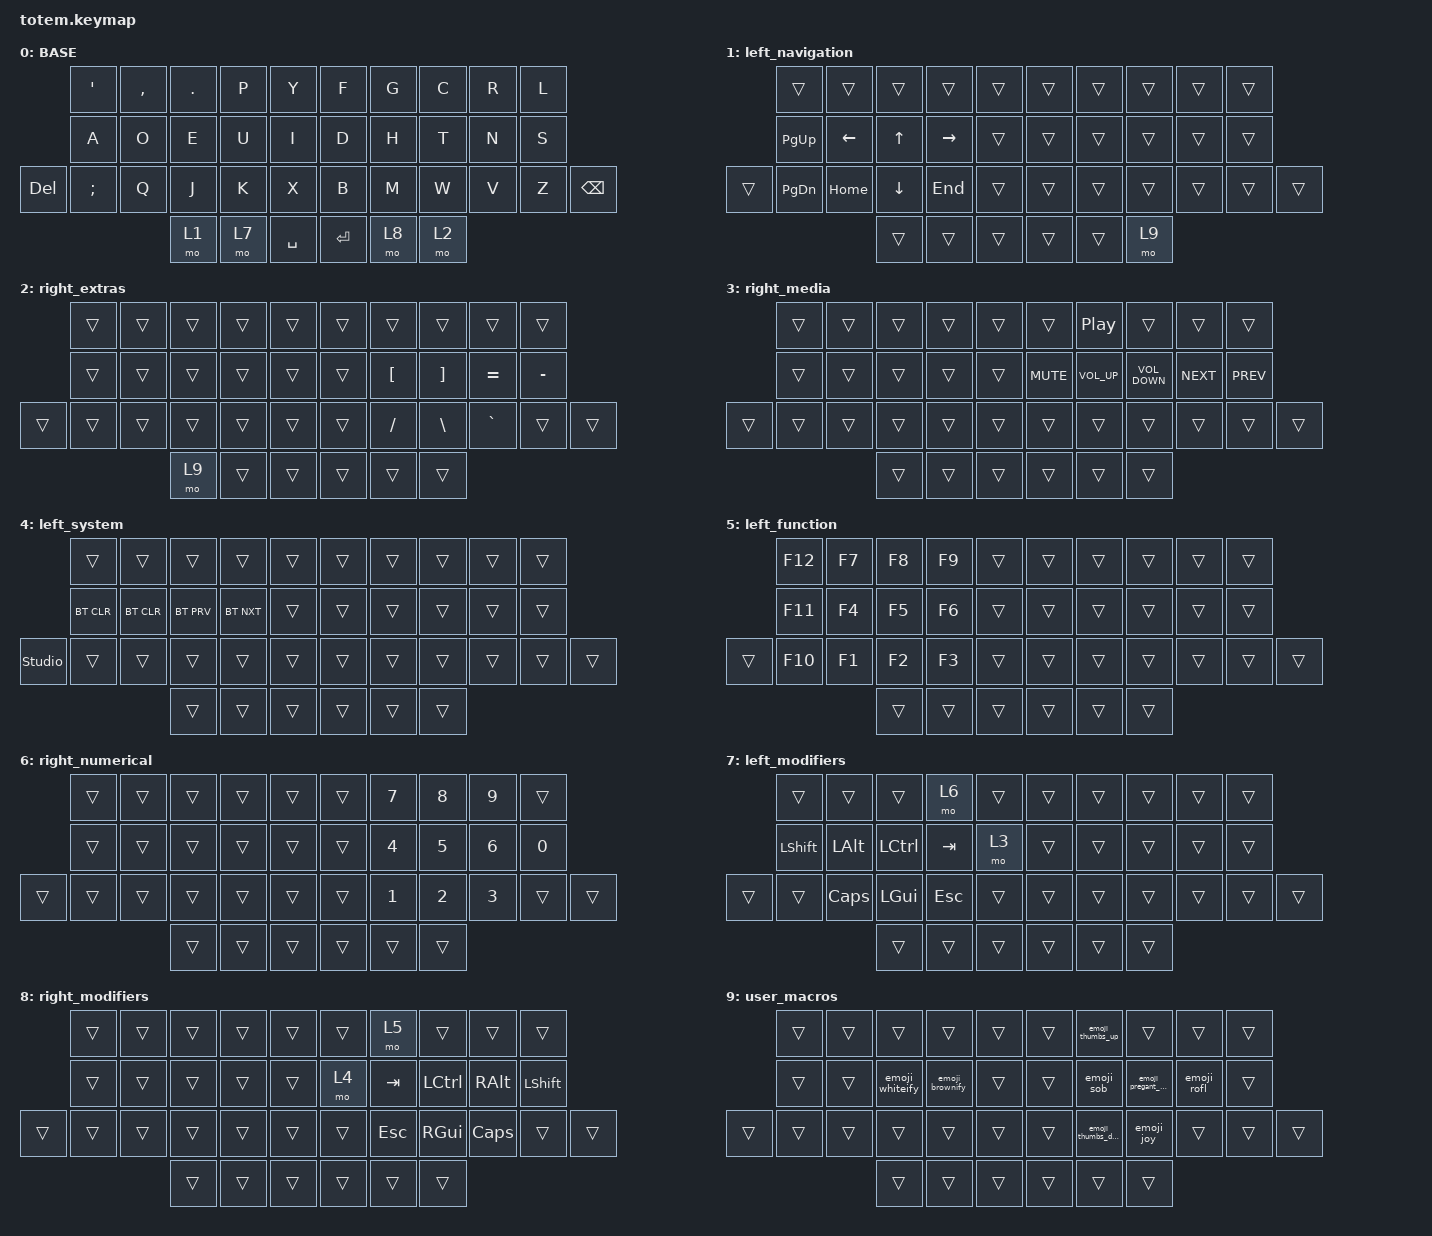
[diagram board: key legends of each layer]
//
//                                                        ▀▀▀▀▀     ▀▀▀▀▀          ▀▀█▀▀
//                                                        ▄▀▀▀▄  ▄  ▄▀▀▀▄  ▄  ▄▀▀▀▄  █  ▄▀▀▀▄
//                                                        █   █  █  █   █  █  █   █  █  █   █
//                                                         ▀▀▀   █   ▀▀▀   █   ▀▀▀   ▀   ▀▀▀
//                                                               █      ▄▄▄█▄▄▄    █   █  
//                                                               ▀      █  █  █     █▄█
//                                                             ▀▀▀▀▀    █  █  █      ▀
//                                                                      ▀  ▀  ▀
//
// ▄▄▄▄▄▄▄▄▄▄▄▄▄▄▄▄▄▄▄▄▄▄▄▄▄▄▄▄▄▄▄▄▄▄▄▄▄▄▄▄▄▄▄▄▄▄▄▄▄▄▄▄▄▄▄▄▄▄▄▄▄▄▄▄▄▄▄▄▄▄▄▄▄▄▄▄▄▄▄▄▄▄▄▄▄▄▄▄▄▄▄▄▄▄▄▄▄▄▄▄▄▄▄▄▄▄▄▄▄▄▄▄▄▄▄▄▄▄▄▄▄▄▄▄▄▄▄▄▄▄▄▄▄▄▄▄▄▄▄▄▄▄▄▄▄▄▄▄▄

#include <behaviors.dtsi>
#include <dt-bindings/zmk/bt.h>
#include <dt-bindings/zmk/keys.h>

#define BASE 0
#define NAV  1
#define SYM  2
#define ADJ  3
#define TVP1 4
#define TVP2 5

&mt {
    quick-tap-ms = <100>;
    global-quick-tap;
    flavor = "tap-preferred";
    tapping-term-ms = <170>;
};

/ {
    combos { compatible = "zmk,combos"; };

    macros {
        emoji_brownify: emoji_brownify {
            compatible = "zmk,behavior-macro";
            #binding-cells = <0>;
            bindings = <&kp LS(LC(U)) &kp N1 &kp F &kp N3 &kp F &kp F &kp RET>;
            label = "EMOJI_BROWNIFY";
        };

        emoji_whiteify: emoji_whiteify {
            compatible = "zmk,behavior-macro";
            #binding-cells = <0>;
            bindings = <&kp LC(LS(U)) &kp N1 &kp F &kp N3 &kp F &kp B &kp RET>;
            label = "EMOJI_WHITEIFY";
        };

        emoji_pregant_man: emoji_pregant_man {
            compatible = "zmk,behavior-macro";
            #binding-cells = <0>;
            bindings = <&kp LC(LS(U)) &kp N1 &kp F &kp A &kp C &kp N3 &kp RET>;
            label = "EMOJI_PREGANT_MAN";
        };

        emoji_joy: emoji_joy {
            compatible = "zmk,behavior-macro";
            #binding-cells = <0>;
            bindings = <&kp LS(LC(U)) &kp N1 &kp F &kp N6 &kp N0 &kp N2 &kp RET>;
            label = "EMOJI_JOY";
        };

        emoji_sob: new_macro {
            compatible = "zmk,behavior-macro";
            #binding-cells = <0>;
            bindings = <&kp LC(LS(U)) &kp N1 &kp F &kp N6 &kp N2 &kp D &kp RET>;
            label = "NEW_MACRO";
        };

        emoji_rofl: emoji_rofl {
            compatible = "zmk,behavior-macro";
            #binding-cells = <0>;
            bindings = <&kp LC(LS(U)) &kp N1 &kp F &kp N9 &kp N2 &kp N3 &kp RET>;
            label = "EMOJI_ROFL";
        };

        emoji_thumbs_down: emoji_thumbs_down {
            compatible = "zmk,behavior-macro";
            #binding-cells = <0>;
            bindings = <&kp LS(LC(U)) &kp N1 &kp F &kp N4 &kp N4 &kp E &kp RET>;
            label = "EMOJI_THUMBS_DOWN";
        };

        emoji_thumbs_up: emoji_thumbs_up {
            compatible = "zmk,behavior-macro";
            #binding-cells = <0>;
            bindings = <&kp LS(LC(U)) &kp N1 &kp F &kp N4 &kp N4 &kp D &kp RET>;
            label = "EMOJI_THUMBS_UP";
        };
    };

    keymap {
        compatible = "zmk,keymap";

        // ▄▄▄▄▄▄▄▄▄▄▄▄▄▄▄▄▄▄▄▄▄▄▄▄▄▄▄▄▄▄▄▄▄▄▄▄▄▄▄▄▄▄▄▄▄▄▄▄▄▄▄▄▄▄▄▄▄▄▄▄▄▄▄▄▄▄▄▄▄▄▄▄▄▄▄▄▄▄▄▄▄▄▄▄▄▄▄▄▄▄▄▄▄▄▄▄▄▄▄▄▄▄▄▄▄▄▄▄▄▄▄▄▄▄▄▄▄▄▄▄▄▄▄▄▄▄▄▄▄▄▄▄▄▄▄▄▄▄▄▄▄▄▄▄▄▄▄▄▄

        base_layer {
            // ┏━━━━━━━━━━━━━━━━━━━━━━━━━━━━━━━━━━━━━━━┓

            label = "BASE";

            // ┗━━━━━━━━━━━━━━━━━━━━━━━━━━━━━━━━━━━━━━━┛
            //             ┏━━━━━━━━━━━┳━━━━━━━━━━━┳━━━━━━━━━━━┳━━━━━━━━━━━┳━━━━━━━━━━━┓   ┏━━━━━━━━━━━┳━━━━━━━━━━━┳━━━━━━━━━━━┳━━━━━━━━━━━┳━━━━━━━━━━━┓
            //             ┃     Q     ┃     W     ┃     F     ┃     P     ┃     G     ┃   ┃     J     ┃     L     ┃     U     ┃     Y     ┃     ;     ┃
            //             ┣━━━━━━━━━━━╋━━━━━━━━━━━╋━━━━━━━━━━━╋━━━━━━━━━━━╋━━━━━━━━━━━┫   ┣━━━━━━━━━━━╋━━━━━━━━━━━╋━━━━━━━━━━━╋━━━━━━━━━━━╋━━━━━━━━━━━┫
            //             ┃     A     ┃     R     ┃     S     ┃     T     ┃     D     ┃   ┃     H     ┃     N     ┃     E     ┃     I     ┃     O     ┃
            // ┏━━━━━━━━━━━╋━━━━━━━━━━━╋━━━━━━━━━━━╋━━━━━━━━━━━╋━━━━━━━━━━━╋━━━━━━━━━━━┫   ┣━━━━━━━━━━━╋━━━━━━━━━━━╋━━━━━━━━━━━╋━━━━━━━━━━━╋━━━━━━━━━━━╋━━━━━━━━━━━┓
            // ┃     Q     ┃     Z     ┃     X     ┃     C     ┃     V     ┃     B     ┃   ┃     K     ┃     M     ┃     ,     ┃     .     ┃     /     ┃     \     ┃
            // ┗━━━━━━━━━━━┻━━━━━━━━━━━┻━━━━━━━━━━━╋━━━━━━━━━━━╋━━━━━━━━━━━╋━━━━━━━━━━━┫   ┣━━━━━━━━━━━╋━━━━━━━━━━━╋━━━━━━━━━━━╋━━━━━━━━━━━┻━━━━━━━━━━━┻━━━━━━━━━━━┛
            //                                     ┃    DEL    ┃    TAB    ┃    SPC    ┃   ┃   ENTER   ┃           ┃   BSPC    ┃
            //                                     ┗━━━━━━━━━━━┻━━━━━━━━━━━┻━━━━━━━━━━━┛   ┗━━━━━━━━━━━┻━━━━━━━━━━━┻━━━━━━━━━━━┛

            bindings = <
         &kp SQT        &kp COMMA  &kp PERIOD  &kp P  &kp Y        &kp F      &kp G  &kp C  &kp R  &kp L
         &kp A          &kp O      &kp E       &kp U  &kp I        &kp D      &kp H  &kp T  &kp N  &kp S
&kp DEL  &kp SEMICOLON  &kp Q      &kp J       &kp K  &kp X        &kp B      &kp M  &kp W  &kp V  &kp Z  &kp BACKSPACE
                                   &mo 1       &mo 7  &kp SPACE    &kp ENTER  &mo 8  &mo 2
            >;
        };

        left_navigation {
            bindings = <
        &trans     &trans    &trans    &trans     &trans    &trans  &trans  &trans  &trans  &trans
        &kp PG_UP  &kp LEFT  &kp UP    &kp RIGHT  &trans    &trans  &trans  &trans  &trans  &trans
&trans  &kp PG_DN  &kp HOME  &kp DOWN  &kp END    &trans    &trans  &trans  &trans  &trans  &trans  &trans
                             &trans    &trans     &trans    &trans  &trans  &mo 9
            >;
        };

        right_extras {
            bindings = <
        &trans  &trans  &trans  &trans  &trans    &trans  &trans    &trans    &trans     &trans
        &trans  &trans  &trans  &trans  &trans    &trans  &kp LBKT  &kp RBKT  &kp EQUAL  &kp MINUS
&trans  &trans  &trans  &trans  &trans  &trans    &trans  &kp FSLH  &kp BSLH  &kp GRAVE  &trans     &trans
                        &mo 9   &trans  &trans    &trans  &trans    &trans
            >;
        };

        right_media {
            bindings = <
        &trans  &trans  &trans  &trans  &trans    &trans      &kp C_PLAY_PAUSE  &trans             &trans      &trans
        &trans  &trans  &trans  &trans  &trans    &kp C_MUTE  &kp C_VOLUME_UP   &kp C_VOLUME_DOWN  &kp C_NEXT  &kp C_PREV
&trans  &trans  &trans  &trans  &trans  &trans    &trans      &trans            &trans             &trans      &trans      &trans
                        &trans  &trans  &trans    &trans      &trans            &trans
            >;
        };

        left_system {
            bindings = <
                &trans      &trans      &trans      &trans      &trans    &trans  &trans  &trans  &trans  &trans
                &bt BT_CLR  &bt BT_CLR  &bt BT_PRV  &bt BT_NXT  &trans    &trans  &trans  &trans  &trans  &trans
&studio_unlock  &trans      &trans      &trans      &trans      &trans    &trans  &trans  &trans  &trans  &trans  &trans
                                        &trans      &trans      &trans    &trans  &trans  &trans
            >;
        };

        left_function {
            bindings = <
        &kp F12  &kp F7  &kp F8  &kp F9  &trans    &trans  &trans  &trans  &trans  &trans
        &kp F11  &kp F4  &kp F5  &kp F6  &trans    &trans  &trans  &trans  &trans  &trans
&trans  &kp F10  &kp F1  &kp F2  &kp F3  &trans    &trans  &trans  &trans  &trans  &trans  &trans
                         &trans  &trans  &trans    &trans  &trans  &trans
            >;
        };

        right_numerical {
            bindings = <
        &trans  &trans  &trans  &trans  &trans    &trans  &kp N7  &kp N8  &kp N9  &trans
        &trans  &trans  &trans  &trans  &trans    &trans  &kp N4  &kp N5  &kp N6  &kp N0
&trans  &trans  &trans  &trans  &trans  &trans    &trans  &kp N1  &kp N2  &kp N3  &trans  &trans
                        &trans  &trans  &trans    &trans  &trans  &trans
            >;
        };

        left_modifiers {
            bindings = <
        &trans          &trans    &trans     &mo 6    &trans    &trans  &trans  &trans  &trans  &trans
        &kp LEFT_SHIFT  &kp LALT  &kp LCTRL  &kp TAB  &mo 3     &trans  &trans  &trans  &trans  &trans
&trans  &trans          &kp CAPS  &kp LGUI   &kp ESC  &trans    &trans  &trans  &trans  &trans  &trans  &trans
                                  &trans     &trans   &trans    &trans  &trans  &trans
            >;
        };

        right_modifiers {
            bindings = <
        &trans  &trans  &trans  &trans  &trans    &trans  &mo 5    &trans     &trans    &trans
        &trans  &trans  &trans  &trans  &trans    &mo 4   &kp TAB  &kp LCTRL  &kp RALT  &kp LSHFT
&trans  &trans  &trans  &trans  &trans  &trans    &trans  &kp ESC  &kp RGUI   &kp CAPS  &trans     &trans
                        &trans  &trans  &trans    &trans  &trans   &trans
            >;
        };

        user_macros {
            bindings = <
        &trans  &trans  &trans           &trans           &trans    &trans  &emoji_thumbs_up    &trans              &trans       &trans
        &trans  &trans  &emoji_whiteify  &emoji_brownify  &trans    &trans  &emoji_sob          &emoji_pregant_man  &emoji_rofl  &trans
&trans  &trans  &trans  &trans           &trans           &trans    &trans  &emoji_thumbs_down  &emoji_joy          &trans       &trans  &trans
                        &trans           &trans           &trans    &trans  &trans              &trans
            >;
        };

        // ▄▄▄▄▄▄▄▄▄▄▄▄▄▄▄▄▄▄▄▄▄▄▄▄▄▄▄▄▄▄▄▄▄▄▄▄▄▄▄▄▄▄▄▄▄▄▄▄▄▄▄▄▄▄▄▄▄▄▄▄▄▄▄▄▄▄▄▄▄▄▄▄▄▄▄▄▄▄▄▄▄▄▄▄▄▄▄▄▄▄▄▄▄▄▄▄▄▄▄▄▄▄▄▄▄▄▄▄▄▄▄▄▄▄▄▄▄▄▄▄▄▄▄▄▄▄▄▄▄▄▄▄▄▄▄▄▄▄▄▄▄▄▄▄▄▄▄▄▄
        // ▄▄▄▄▄▄▄▄▄▄▄▄▄▄▄▄▄▄▄▄▄▄▄▄▄▄▄▄▄▄▄▄▄▄▄▄▄▄▄▄▄▄▄▄▄▄▄▄▄▄▄▄▄▄▄▄▄▄▄▄▄▄▄▄▄▄▄▄▄▄▄▄▄▄▄▄▄▄▄▄▄▄▄▄▄▄▄▄▄▄▄▄▄▄▄▄▄▄▄▄▄▄▄▄▄▄▄▄▄▄▄▄▄▄▄▄▄▄▄▄▄▄▄▄▄▄▄▄▄▄▄▄▄▄▄▄▄▄▄▄▄▄▄▄▄▄▄▄▄
        // ▄▄▄▄▄▄▄▄▄▄▄▄▄▄▄▄▄▄▄▄▄▄▄▄▄▄▄▄▄▄▄▄▄▄▄▄▄▄▄▄▄▄▄▄▄▄▄▄▄▄▄▄▄▄▄▄▄▄▄▄▄▄▄▄▄▄▄▄▄▄▄▄▄▄▄▄▄▄▄▄▄▄▄▄▄▄▄▄▄▄▄▄▄▄▄▄▄▄▄▄▄▄▄▄▄▄▄▄▄▄▄▄▄▄▄▄▄▄▄▄▄▄▄▄▄▄▄▄▄▄▄▄▄▄▄▄▄▄▄▄▄▄▄▄▄▄▄▄▄
        // ▄▄▄▄▄▄▄▄▄▄▄▄▄▄▄▄▄▄▄▄▄▄▄▄▄▄▄▄▄▄▄▄▄▄▄▄▄▄▄▄▄▄▄▄▄▄▄▄▄▄▄▄▄▄▄▄▄▄▄▄▄▄▄▄▄▄▄▄▄▄▄▄▄▄▄▄▄▄▄▄▄▄▄▄▄▄▄▄▄▄▄▄▄▄▄▄▄▄▄▄▄▄▄▄▄▄▄▄▄▄▄▄▄▄▄▄▄▄▄▄▄▄▄▄▄▄▄▄▄▄▄▄▄▄▄▄▄▄▄▄▄▄▄▄▄▄▄▄▄
        // ▄▄▄▄▄▄▄▄▄▄▄▄▄▄▄▄▄▄▄▄▄▄▄▄▄▄▄▄▄▄▄▄▄▄▄▄▄▄▄▄▄▄▄▄▄▄▄▄▄▄▄▄▄▄▄▄▄▄▄▄▄▄▄▄▄▄▄▄▄▄▄▄▄▄▄▄▄▄▄▄▄▄▄▄▄▄▄▄▄▄▄▄▄▄▄▄▄▄▄▄▄▄▄▄▄▄▄▄▄▄▄▄▄▄▄▄▄▄▄▄▄▄▄▄▄▄▄▄▄▄▄▄▄▄▄▄▄▄▄▄▄▄▄▄▄▄▄▄▄
    };
};
